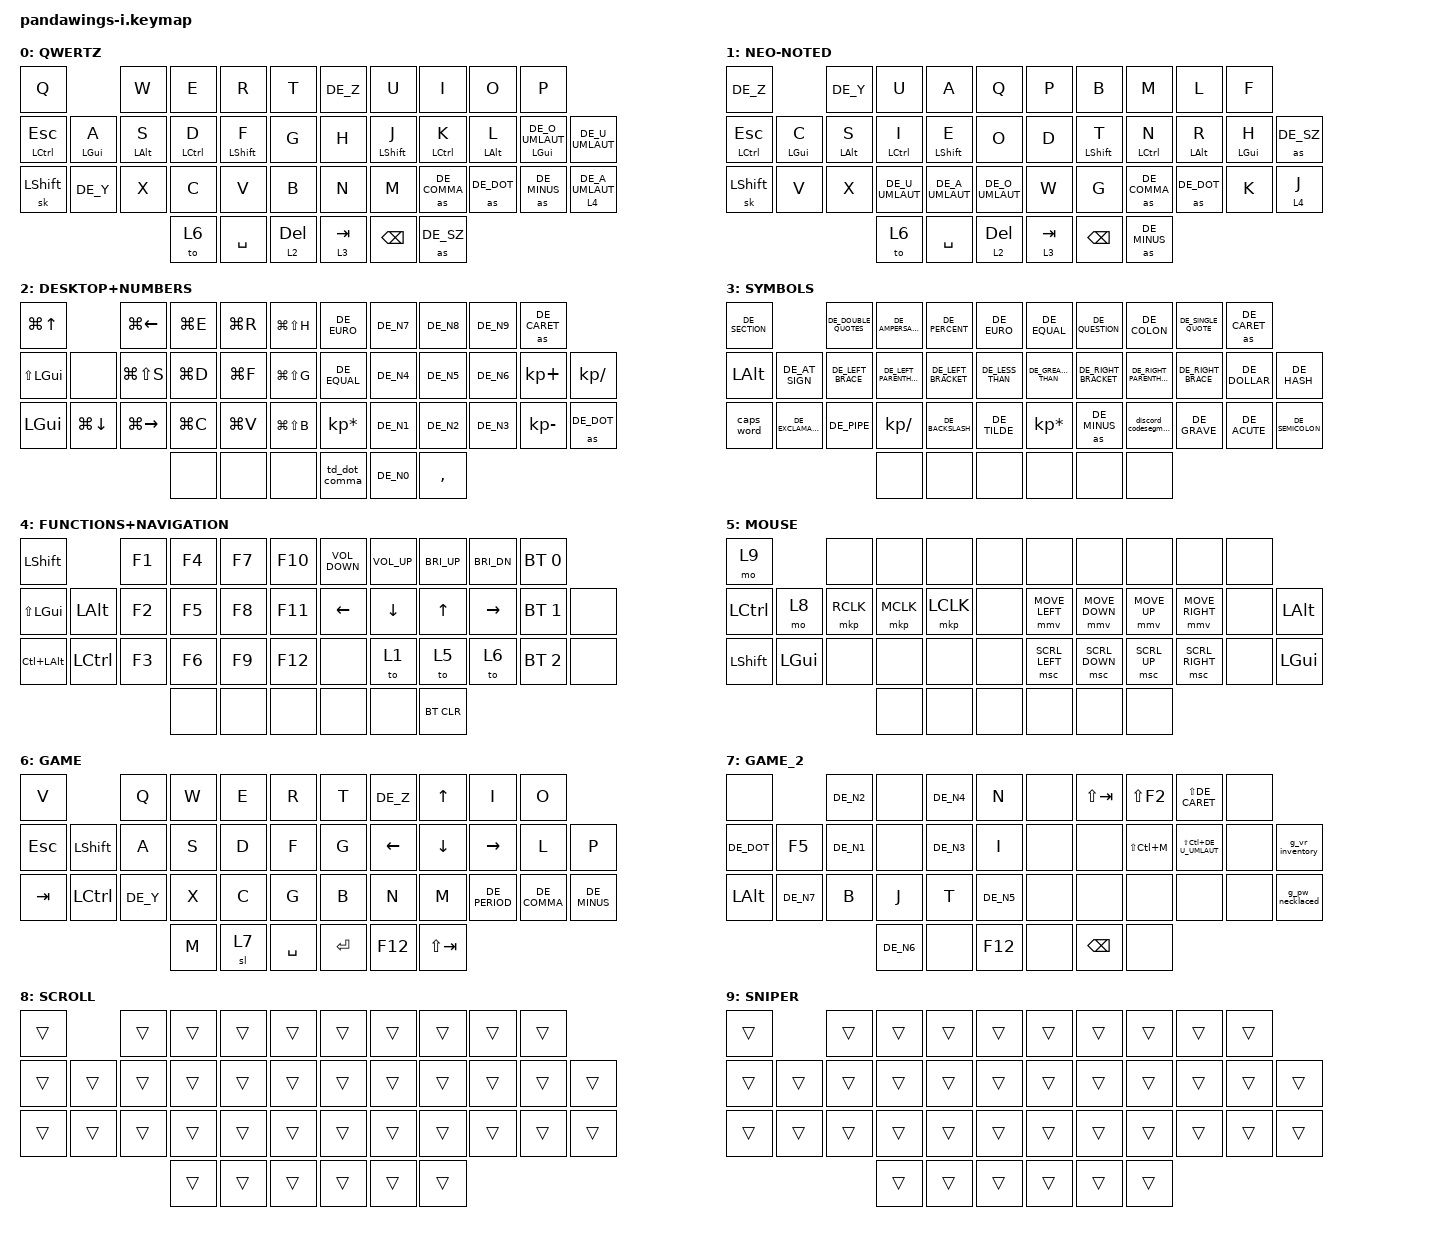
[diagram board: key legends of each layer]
#include "keys_de.h"
#include <behaviors/mouse_keys.dtsi>
#include <dt-bindings/zmk/mouse.h>
#include <behaviors.dtsi>
#include <dt-bindings/zmk/bt.h>
#include <dt-bindings/zmk/keys.h>
#include <dt-bindings/zmk/pointing.h>

// https://github.com/urob/zmk-config#timeless-homerow-mods

#define PRIOR_IDLE 100   // 125
#define QUICK_TAP_MS 175 // 200
#define TAPPING_TERM 200 // 225
#define HRM_TAP_TERM 275

&caps_word { continue-list = <DELETE DEL BACKSPACE MINUS KP_MINUS SLASH QUESTION SEMICOLON LEFT_BRACKET RIGHT_BRACKET LEFT_BRACE RIGHT_BRACE SINGLE_QUOTE DE_A_UMLAUT DE_O_UMLAUT DE_U_UMLAUT>; };

// &lt &mt from https://github.com/urob/zmk-config/blob/main/config/base.keymap
// hold-preferred, balanced, tap-preferred, tap-unless-interrupted

&lt {
    flavor = "hold-preferred";
    tapping-term-ms = <TAPPING_TERM>;
    quick-tap-ms = <QUICK_TAP_MS>;
};

&mt {
    flavor = "hold-preferred";
    tapping-term-ms = <TAPPING_TERM>;
    quick-tap-ms = <QUICK_TAP_MS>;
};

/ {
    behaviors {
        ht_as: autoshift_hold_tap {
            compatible = "zmk,behavior-hold-tap";
            label = "AUTOSHIFT_HOLD_TAP";
            #binding-cells = <2>;
            tapping-term-ms = <QUICK_TAP_MS>;
            bindings = <&shifted>, <&kp>;
        };

        hm: homerow_mods {
            compatible = "zmk,behavior-hold-tap";
            label = "HOMEROW_MODS";
            #binding-cells = <2>;
            flavor = "tap-unless-interrupted";
            tapping-term-ms = <300>;
            quick-tap-ms = <200>;
            bindings = <&sk>, <&kp>;

            require-prior-idle-ms = <50>;
        };

        hml: home_row_mod_left {
            compatible = "zmk,behavior-hold-tap";
            label = "HML";
            bindings = <&kp>, <&kp>;

            #binding-cells = <2>;
            tapping-term-ms = <HRM_TAP_TERM>;
            quick-tap-ms = <QUICK_TAP_MS>;
            require-prior-idle-ms = <PRIOR_IDLE>;
            flavor = "balanced";
            hold-trigger-key-positions = <5 6 7 8 9 16 17 18 19 20 21 28 29 30 31 32 33 39 38 37>;
            hold-trigger-on-release;
        };

        hmr: home_row_mod_right {
            compatible = "zmk,behavior-hold-tap";
            label = "HMR";
            bindings = <&kp>, <&kp>;

            #binding-cells = <2>;
            tapping-term-ms = <HRM_TAP_TERM>;
            quick-tap-ms = <QUICK_TAP_MS>;
            require-prior-idle-ms = <PRIOR_IDLE>;
            flavor = "balanced";
            hold-trigger-key-positions = <0 1 2 3 4 10 11 12 13 14 15 22 23 24 25 26 27 2 3 4 13 14 15 25 26 27 34 35 36>;
            hold-trigger-on-release;
        };

        hml_shift: home_row_mod_left_shift {
            compatible = "zmk,behavior-hold-tap";
            label = "HMLS";
            bindings = <&kp>, <&kp>;

            #binding-cells = <2>;
            tapping-term-ms = <HRM_TAP_TERM>;
            quick-tap-ms = <QUICK_TAP_MS>;
            require-prior-idle-ms = <PRIOR_IDLE>;
            flavor = "tap-unless-interrupted";
            hold-trigger-key-positions = <5 6 7 8 9 16 17 18 19 20 21 28 29 30 31 32 33 39 38 37>;
            hold-while-undecided;
        };

        hmr_shift: home_row_mod_right_shift {
            compatible = "zmk,behavior-hold-tap";
            label = "HMRS";
            bindings = <&kp>, <&kp>;

            #binding-cells = <2>;
            tapping-term-ms = <HRM_TAP_TERM>;
            quick-tap-ms = <QUICK_TAP_MS>;
            require-prior-idle-ms = <PRIOR_IDLE>;
            flavor = "tap-unless-interrupted";
            hold-trigger-key-positions = <0 1 2 3 4 10 11 12 13 14 15 22 23 24 25 26 27 2 3 4 13 14 15 25 26 27 34 35 36>;
            hold-while-undecided;
        };

        td_dot_comma: td_dot_comma {
            compatible = "zmk,behavior-tap-dance";
            label = "TD_DOT_COMMA";
            #binding-cells = <0>;
            bindings = <&kp DE_DOT>, <&kp DE_COMMA>;

            tapping-term-ms = <250>;
        };
    };

    combos {
        compatible = "zmk,combos";

        to_base_layer {
            bindings = <&to 0>;
            key-positions = <35 36>;
        };

        select_all {
            bindings = <&kp LC(A)>;
            key-positions = <23 24>;
            layers = <0 1>;
        };

        copy {
            bindings = <&kp LC(C)>;
            key-positions = <24 25>;
            layers = <0 1>;
        };

        paste {
            bindings = <&kp LC(V)>;
            key-positions = <25 26>;
            layers = <0 1>;
        };

        cut {
            bindings = <&kp LC(X)>;
            key-positions = <26 27>;
            layers = <0 1>;
        };

        line_start {
            bindings = <&kp HOME>;
            key-positions = <12 13 14>;
            layers = <0 1>;
        };

        line_end {
            bindings = <&kp END>;
            key-positions = <17 18 19>;
            layers = <0 1>;
        };

        return {
            bindings = <&kp RETURN>;
            key-positions = <36 37>;
            layers = <0 1>;
        };

        shift_return {
            bindings = <&kp LS(RETURN)>;
            key-positions = <10 22>;
            layers = <0 1>;
        };

        vim_save {
            bindings = <&vimsave>;
            key-positions = <30 31>;
            layers = <0 1>;
        };

        vim_quit {
            bindings = <&vimquit>;
            key-positions = <28 29>;
            layers = <0 1>;
        };

        arrow_down {
            bindings = <&kp DOWN>;
            key-positions = <29 30 31>;
            layers = <0 1>;
        };

        controller_reset {
            bindings = <&bootloader>;
            key-positions = <0 1 2 3>;
            layers = <0 1>;
        };
    };

    macros {
        g_vr_inventory: g_vr_inventory {
            compatible = "zmk,behavior-macro";
            label = "GAME_VRISING_INVENTORY_CLEAR";
            #binding-cells = <0>;
            wait-ms = <50>;
            tap-ms = <50>;
            bindings = <&kp R &mkp RCLK &kp E &kp R &mkp RCLK &kp E &kp R &mkp RCLK &kp E &kp R &mkp RCLK &kp E &kp R &mkp RCLK &kp E &kp R &mkp RCLK &kp E &kp R &mkp RCLK &kp E &kp R &mkp RCLK &kp E &kp R &mkp RCLK &kp E &kp R &mkp RCLK &kp E>;
        };

        g_pw_nextpal: g_pw_nextpal {
            compatible = "zmk,behavior-macro";
            label = "GAME_PALWORLD_NEXT_PAL";
            #binding-cells = <0>;
            wait-ms = <50>;
            tap-ms = <50>;
            bindings = <&kp DE_N3 &kp E>;
        };

        g_pw_necklaced: g_pw_necklaced {
            compatible = "zmk,behavior-macro";
            label = "GAME_PALWORLD_NECKLACE_SPAWN_FIX";
            #binding-cells = <0>;
            wait-ms = <50>;
            tap-ms = <50>;
            bindings =
                <&g_pw_nextpal>,
                <&macro_wait_time 1000>,
                <&g_pw_nextpal>,
                <&macro_wait_time 1000>,
                <&g_pw_nextpal>,
                <&macro_wait_time 1000>,
                <&g_pw_nextpal>,
                <&macro_wait_time 1000>,
                <&g_pw_nextpal>;
        };

        shifted: macro_shifted_kp {
            #binding-cells = <1>;
            label = "MACRO_SHIFTED_KP";
            compatible = "zmk,behavior-macro-one-param";
            bindings =
                <&macro_press>,
                <&sk LSHFT &macro_param_1to1>,
                <&macro_tap>,
                <&kp MACRO_PLACEHOLDER>,
                <&macro_release>,
                <&kp LEFT_SHIFT>;
        };

        as: autoshift {
            compatible = "zmk,behavior-macro-one-param";
            #binding-cells = <1>;
            label = "AUTOSHIFT_KP";
            bindings =
                <&macro_press>,
                <&macro_param_1to1 &macro_param_1to2 &ht_as MACRO_PLACEHOLDER MACRO_PLACEHOLDER>,
                <&macro_pause_for_release>,
                <&macro_release>,
                <&macro_param_1to1 &macro_param_1to2 &ht_as MACRO_PLACEHOLDER MACRO_PLACEHOLDER>;
        };

        discord_codesegment: discord_codesegment {
            compatible = "zmk,behavior-macro";
            #binding-cells = <0>;
            bindings = <&kp DE_GRAVE &kp DE_GRAVE>;
            label = "DC_CODESEG";
        };

        vimsave: vimsave {
            compatible = "zmk,behavior-macro";
            #binding-cells = <0>;
            bindings = <&kp DE_COLON &kp W &kp A &kp RETURN>;
            label = "VIMSAVE";
        };

        vimquit: vimquit {
            compatible = "zmk,behavior-macro";
            #binding-cells = <0>;
            bindings = <&kp DE_COLON &kp Q &kp A &kp RETURN>;
            label = "VIMQUIT";
        };
    };

    keymap {
        compatible = "zmk,keymap";

        QWERTZ {
            //        | SW2  | SW3  | SW4  | SW5  | SW6  |  | SW27 | SW26 | SW25 | SW24 | SW23 | 
            // | SW7  | SW8  | SW9  | SW10 | SW11 | SW12 |  | SW33 | SW32 | SW31 | SW30 | SW29 | SW34 |
            // | SW13 | SW14 | SW15 | SW16 | SW17 | SW18 |  | SW39 | SW38 | SW37 | SW36 | SW35 | SW28 |
            //                      | SW19 | SW20 | SW21 |  | SW42 | SW41 | SW40 |

            bindings = <
&kp Q                         &kp W           &kp E        &kp R        &kp T           &kp DE_Z   &kp U             &kp I               &kp O           &kp P
&mt LCTRL ESCAPE  &hm LGUI A  &hm LEFT_ALT S  &hm LCTRL D  &hm LSHFT F  &kp G           &kp H      &hm LEFT_SHIFT J  &hm LEFT_CONTROL K  &hm LEFT_ALT L  &hm LEFT_GUI DE_O_UMLAUT  &kp DE_U_UMLAUT
&sk LEFT_SHIFT    &kp DE_Y    &kp X           &kp C        &kp V        &kp B           &kp N      &kp M             &as DE_COMMA        &as DE_DOT      &as DE_MINUS              &lt 4 DE_A_UMLAUT
                                              &to 6        &kp SPACE    &lt 2 DELETE    &lt 3 TAB  &kp BACKSPACE     &as DE_SZ
            >;
        };

        NEO-NOTED {
            bindings = <
&kp DE_Z                                 &kp DE_Y        &kp U            &kp A            &kp Q              &kp P      &kp B          &kp M         &kp L           &kp F
&mt LEFT_CONTROL ESCAPE  &hm LEFT_GUI C  &hm LEFT_ALT S  &hm LCTRL I      &hm LSHIFT E     &kp O              &kp D      &hm LSHIFT T   &hm LCTRL N   &hm LEFT_ALT R  &hm LEFT_GUI H  &as DE_SZ
&sk LEFT_SHIFT           &kp V           &kp X           &kp DE_U_UMLAUT  &kp DE_A_UMLAUT  &kp DE_O_UMLAUT    &kp W      &kp G          &as DE_COMMA  &as DE_DOT      &kp K           &lt 4 J
                                                         &to 6            &kp SPACE        &lt 2 DELETE       &lt 3 TAB  &kp BACKSPACE  &as DE_MINUS
            >;
        };

        DESKTOP+NUMBERS {
            bindings = <
&kp LG(UP_ARROW)                      &kp LG(LEFT_ARROW)   &kp LG(E)  &kp LG(R)  &kp LG(LS(H))    &kp DE_EURO      &kp DE_N7  &kp DE_N8  &kp DE_N9  &as DE_CARET
&kp LS(LEFT_GUI)  &none               &kp LG(LS(S))        &kp LG(D)  &kp LG(F)  &kp LG(LS(G))    &kp DE_EQUAL     &kp DE_N4  &kp DE_N5  &kp DE_N6  &kp KP_PLUS   &kp KP_SLASH
&kp LEFT_GUI      &kp LG(DOWN_ARROW)  &kp LG(RIGHT_ARROW)  &kp LG(C)  &kp LG(V)  &kp LG(LS(B))    &kp KP_ASTERISK  &kp DE_N1  &kp DE_N2  &kp DE_N3  &kp KP_MINUS  &as DE_DOT
                                                           &none      &none      &none            &td_dot_comma    &kp DE_N0  &kp COMMA
            >;
        };

        SYMBOLS {
            bindings = <
&kp DE_SECTION                      &kp DE_DOUBLE_QUOTES  &kp DE_AMPERSAND         &kp DE_PERCENT       &kp DE_EURO         &kp DE_EQUAL         &kp DE_QUESTION       &kp DE_COLON              &kp DE_SINGLE_QUOTE  &as DE_CARET
&kp LEFT_ALT    &kp DE_AT_SIGN      &kp DE_LEFT_BRACE     &kp DE_LEFT_PARENTHESIS  &kp DE_LEFT_BRACKET  &kp DE_LESS_THAN    &kp DE_GREATER_THAN  &kp DE_RIGHT_BRACKET  &kp DE_RIGHT_PARENTHESIS  &kp DE_RIGHT_BRACE   &kp DE_DOLLAR  &kp DE_HASH
&caps_word      &kp DE_EXCLAMATION  &kp DE_PIPE           &kp KP_SLASH             &kp DE_BACKSLASH     &kp DE_TILDE        &kp KP_ASTERISK      &as DE_MINUS          &discord_codesegment      &kp DE_GRAVE         &kp DE_ACUTE   &kp DE_SEMICOLON
                                                          &none                    &none                &none               &none                &none                 &none
            >;
        };

        FUNCTIONS+NAVIGATION {
            bindings = <
&kp LSHFT                    &kp F1  &kp F4  &kp F7  &kp F10    &kp C_VOLUME_DOWN  &kp C_VOLUME_UP  &kp C_BRI_UP  &kp C_BRI_DN     &bt BT_SEL 0
&kp LS(LGUI)      &kp LALT   &kp F2  &kp F5  &kp F8  &kp F11    &kp LEFT_ARROW     &kp DOWN_ARROW   &kp UP_ARROW  &kp RIGHT_ARROW  &bt BT_SEL 1  &none
&kp LC(LEFT_ALT)  &kp LCTRL  &kp F3  &kp F6  &kp F9  &kp F12    &none              &to 1            &to 5         &to 6            &bt BT_SEL 2  &none
                                     &none   &none   &none      &none              &none            &bt BT_CLR
            >;
        };

        MOUSE {
            bindings = <
&mo 9                &none      &none      &none      &none    &none           &none           &none         &none            &none
&kp LCTRL  &mo 8     &mkp RCLK  &mkp MCLK  &mkp LCLK  &none    &mmv MOVE_LEFT  &mmv MOVE_DOWN  &mmv MOVE_UP  &mmv MOVE_RIGHT  &none  &kp LEFT_ALT
&kp LSHFT  &kp LGUI  &none      &none      &none      &none    &msc SCRL_LEFT  &msc SCRL_DOWN  &msc SCRL_UP  &msc SCRL_RIGHT  &none  &kp LGUI
                                &none      &none      &none    &none           &none           &none
            >;
        };

        GAME {
            bindings = <
&kp V                       &kp Q     &kp W  &kp E  &kp R        &kp T       &kp DE_Z  &kp UP          &kp I          &kp O
&kp ESCAPE  &kp LEFT_SHIFT  &kp A     &kp S  &kp D  &kp F        &kp G       &kp LEFT  &kp DOWN_ARROW  &kp RIGHT      &kp L         &kp P
&kp TAB     &kp LCTRL       &kp DE_Y  &kp X  &kp C  &kp G        &kp B       &kp N     &kp M           &kp DE_PERIOD  &kp DE_COMMA  &kp DE_MINUS
                                      &kp M  &sl 7  &kp SPACE    &kp RETURN  &kp F12   &kp LS(TAB)
            >;
        };

        GAME_2 {
            bindings = <
&none                    &kp DE_N2  &none      &kp DE_N4  &kp N        &none  &kp LS(TAB)    &kp LS(F2)     &kp LS(DE_CARET)         &none
&kp DE_DOT    &kp F5     &kp DE_N1  &none      &kp DE_N3  &kp I        &none  &none          &kp LS(LC(M))  &kp LS(LC(DE_U_UMLAUT))  &none  &g_vr_inventory
&kp LEFT_ALT  &kp DE_N7  &kp B      &kp J      &kp T      &kp DE_N5    &none  &none          &none          &none                    &none  &g_pw_necklaced
                                    &kp DE_N6  &none      &kp F12      &none  &kp BACKSPACE  &none
            >;
        };

        SCROLL {
            bindings = <
&trans          &trans  &trans  &trans  &trans    &trans  &trans  &trans  &trans  &trans
&trans  &trans  &trans  &trans  &trans  &trans    &trans  &trans  &trans  &trans  &trans  &trans
&trans  &trans  &trans  &trans  &trans  &trans    &trans  &trans  &trans  &trans  &trans  &trans
                        &trans  &trans  &trans    &trans  &trans  &trans
            >;
        };

        SNIPER {
            bindings = <
&trans          &trans  &trans  &trans  &trans    &trans  &trans  &trans  &trans  &trans
&trans  &trans  &trans  &trans  &trans  &trans    &trans  &trans  &trans  &trans  &trans  &trans
&trans  &trans  &trans  &trans  &trans  &trans    &trans  &trans  &trans  &trans  &trans  &trans
                        &trans  &trans  &trans    &trans  &trans  &trans
            >;
        };
    };
};
